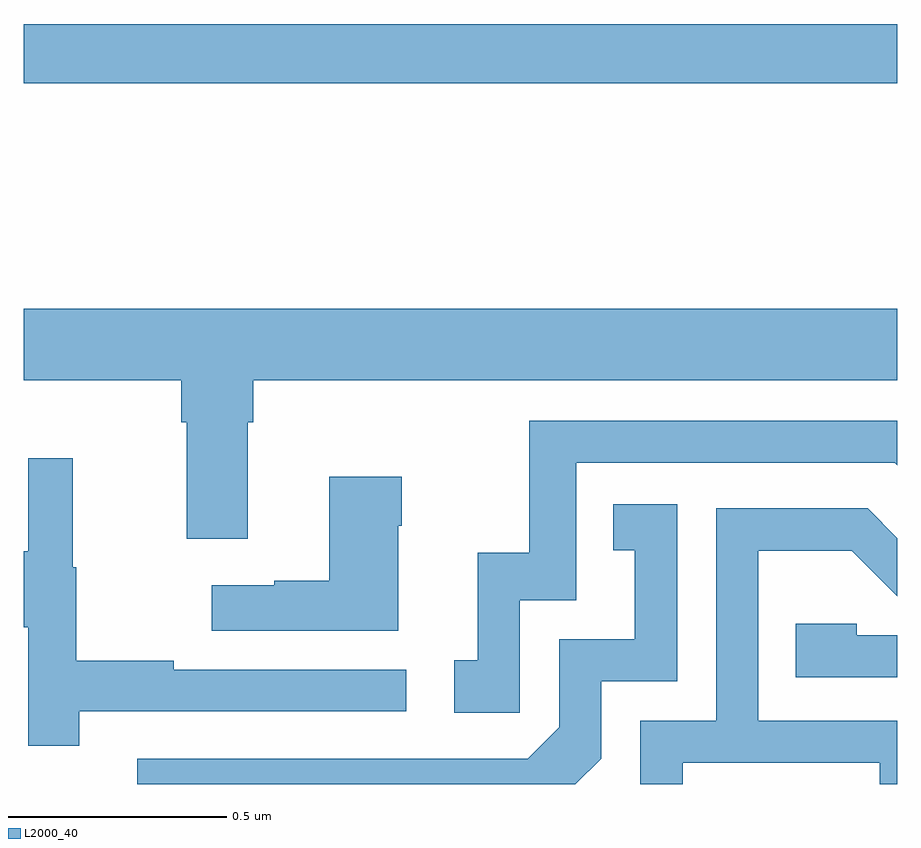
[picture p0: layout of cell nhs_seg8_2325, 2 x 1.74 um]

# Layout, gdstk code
import gdstk
lib = gdstk.Library(unit=1e-6, precision=1e-09)
def R(c, l, rs):  # rectangles x0, y0, x1, y1
    for r in rs: c.add(gdstk.rectangle(r[:2], r[2:], *l))
def P(c, l, *ps):  # polygons
    for p in ps: c.add(gdstk.Polygon(p, *l))
L2000_40 = (2000, 40)

nhs_seg8_2325 = lib.new_cell('nhs_seg8_2325')
R(nhs_seg8_2325, L2000_40, [(142,1126.504,144,1126.64)])
P(nhs_seg8_2325, L2000_40, [(142.513,1125.728),(142.526,1125.728),(142.526,1125.824),(144,1125.824),(144,1125.988),(142,1125.988),(142,1125.824),(142.361,1125.824),(142.361,1125.728),(142.373,1125.728),(142.373,1125.462),(142.513,1125.462)],
  [(143.136,1125.321),(143.265,1125.321),(143.265,1125.636),(143.994,1125.636),(144,1125.63),(144,1125.732),(143.157,1125.732),(143.157,1125.43),(143.039,1125.43),(143.039,1125.183),(142.986,1125.183),(142.986,1125.063),(143.136,1125.063)],
  [(142.127,1125.066),(142.876,1125.066),(142.876,1125.162),(142.343,1125.162),(142.343,1125.182),(142.12,1125.182),(142.12,1125.396),(142.112,1125.396),(142.112,1125.646),(142.01,1125.646),(142.01,1125.433),(142,1125.433),(142,1125.259),(142.01,1125.259),(142.01,1124.988),(142.127,1124.988)],
  [(142.858,1125.491),(142.866,1125.491),(142.866,1125.604),(142.7,1125.604),(142.7,1125.365),(142.574,1125.365),(142.574,1125.355),(142.431,1125.355),(142.431,1125.251),(142.858,1125.251)],
  [(143.322,1124.958),(143.322,1125.135),(143.496,1125.135),(143.496,1125.541),(143.35,1125.541),(143.35,1125.435),(143.399,1125.435),(143.399,1125.231),(143.226,1125.231),(143.226,1125.03),(143.154,1124.958),(142.26,1124.958),(142.26,1124.9),(143.263,1124.9)],
  [(143.509,1124.949),(143.96,1124.949),(143.96,1124.9),(144,1124.9),(144,1125.045),(143.682,1125.045),(143.682,1125.434),(143.896,1125.434),(144,1125.33),(144,1125.463),(143.932,1125.531),(143.586,1125.531),(143.586,1125.045),(143.412,1125.045),(143.412,1124.9),(143.509,1124.9)],
  [(144,1125.24),(143.907,1125.24),(143.907,1125.267),(143.767,1125.267),(143.767,1125.144),(144,1125.144)])

lib.write_gds('nhs_seg8_2325.gds')
